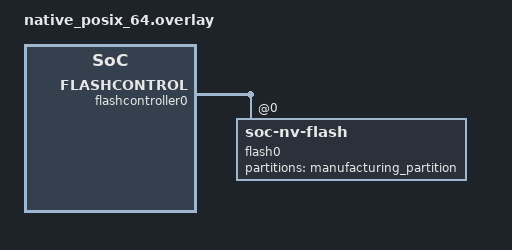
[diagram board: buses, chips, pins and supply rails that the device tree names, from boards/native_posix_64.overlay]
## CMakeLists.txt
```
cmake_minimum_required(VERSION 3.20.0)
set(PROJECT_DIR "${CMAKE_CURRENT_LIST_DIR}/../../../")

# native sim overlay
include("${CMAKE_CURRENT_LIST_DIR}/../boards/native_sim_64/native_sim_64.cmake")

find_package(Zephyr REQUIRED HINTS "${PROJECT_DIR}/firmware/modules/zephyr")
project(test_io)

target_sources(app PRIVATE
    "../boards/native_sim_64/pinctrl/pinctrl_sim.c"
    "src/io_transport.c"
    "src/main.c"
    "src/test_general.c"
    "src/test_gpio.c"
    "src/test_pinctrl.c"
    "${PROJECT_DIR}/firmware/src/io/io.c"
    "${PROJECT_DIR}/firmware/src/io/commands_general.c"
    "${PROJECT_DIR}/firmware/src/io/commands_gpio.c"
    "${PROJECT_DIR}/firmware/src/io/commands_pinctrl.c"
    "${PROJECT_DIR}/firmware/src/nvs.c"
    "${PROJECT_DIR}/firmware/src/utf8.c"
)

target_include_directories(app PRIVATE
    "${PROJECT_DIR}/firmware/src"
    "${PROJECT_DIR}/firmware/tests"
)

target_compile_options(app PRIVATE -Wall -Werror -fanalyzer -save-temps=obj)

zephyr_linker_sources(DATA_SECTIONS
    "${PROJECT_DIR}/firmware/src/io/transport.ld"
)
```

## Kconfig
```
config REPO_VERSION_STRING
    string "Repository semver-compatible version string"
    default "v987.654.321-99-ba5eba11-dirty"

config PRODUCT_MANUFACTURER
    string "Name of the product manufacturer"
    default "Nick Kraus"

config PRODUCT_DESCRIPTOR
    string "Short descriptor of the product"
    default "RICEProbe IO CMSIS-DAP"

config PRODUCT_SERIAL_FORMAT
    string "Defines the format and length of the product serial number"
    default "MMMM-YYWWNNNNNNC"

module = IO
module-str = io
source "subsys/logging/Kconfig.template.log_config"

source "Kconfig.zephyr"
```

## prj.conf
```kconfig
# Device Driver Configs

CONFIG_GPIO=y

CONFIG_FLASH=y
CONFIG_FLASH_MAP=y

CONFIG_PINCTRL=y
CONFIG_PINCTRL_DYNAMIC=y

CONFIG_SERIAL=y
CONFIG_UART_INTERRUPT_DRIVEN=y

# Kernel Configs

CONFIG_HEAP_MEM_POOL_SIZE=4096
CONFIG_RING_BUFFER=y

CONFIG_SYS_CLOCK_TICKS_PER_SEC=1000000

# Logging Configs

CONFIG_LOG=y
CONFIG_LOG_BACKEND_NATIVE_POSIX=y

# Test Configs

CONFIG_ZTEST=y
CONFIG_ZTEST_NEW_API=y

CONFIG_COVERAGE=y
```

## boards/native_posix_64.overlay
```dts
#include <dt-bindings/pinctrl/pinctrl_posix.h>

/ {    
    io: io {
        compatible = "rice,io";
    };
};

&flashcontroller0 {
    /delete-node/ flash@0;

    flash0: flash@0 {
        status = "okay";
        compatible = "soc-nv-flash";
        erase-block-size = <1>;
        write-block-size = <1>;
        reg = <0x0 0x200>;

        partitions {
            compatible = "fixed-partitions";
            #address-cells = <1>;
            #size-cells = <1>;

            manufacturing_partition: partition@0 {
                reg = <0x0 0x200>;
                read-only;
            };
        };
    };
};
```

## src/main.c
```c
#include <zephyr/storage/flash_map.h>
#include <zephyr/kernel.h>
#include <zephyr/ztest.h>

static uint8_t nvs_data[] = {
    /* manufacturing tag (0x7A5A, little-endian) */
    0x5A, 0x7A,
    /* manufacturing data version (0x0101, little-endian) */
    0x01, 0x01,
    /* serial number */
    'R', 'P', 'B', '1', '-', '2', '0', '0',
    '0', '1', '2', '3', '4', '5', '6', 'I',
    0, 0, 0, 0, 0, 0, 0, 0,
    0, 0, 0, 0, 0, 0, 0, 0, 
    /* uuid */
    0x20, 0xA0, 0x2F, 0xC2, 0xA7, 0x91, 0x41, 0x4B,
    0xBB, 0x66, 0xC6, 0x40, 0x7E, 0x78, 0xA7, 0x10,
};

int32_t nvs_init(void);
int32_t io_init(void);

static void *io_tests_setup(void) {
    const struct flash_area *fa;
    zassert_ok(flash_area_open(FIXED_PARTITION_ID(manufacturing_partition), &fa));
    zassert_ok(flash_area_erase(fa, 0, sizeof(nvs_data)));
    zassert_ok(flash_area_write(fa, 0, nvs_data, sizeof(nvs_data)));
    flash_area_close(fa);

    zassert_ok(nvs_init());
    zassert_ok(io_init());

    /* make sure the test transport has been selected by the time the test runs */
    k_sleep(K_MSEC(100));

    return NULL;
}

ZTEST_SUITE(io, NULL, io_tests_setup, NULL, NULL, NULL);
```

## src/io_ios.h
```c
#ifndef __TEST_IO_IOS_H__
#define __TEST_IO_IOS_H__

#include <zephyr/devicetree.h>
#include <zephyr/drivers/gpio.h>

#include "io/io.h"

static const struct gpio_dt_spec io_gpios[] = IO_GPIOS_DECLARE();

#endif /* __TEST_IO_IOS_H__ */
```

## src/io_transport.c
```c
#include <zephyr/kernel.h>
#include <zephyr/ztest.h>

#include "io/transport.h"

static int32_t io_transport_init(void) {
    return 0;
}

static int32_t io_transport_configure(void) {
    return 0;
}

static uint8_t buf[KB(3)];
static size_t buf_len;

/* a test request is available and the transport_recv function can continue */
static K_SEM_DEFINE(request_available, 0, 1);
static int32_t io_transport_recv(uint8_t *recv, size_t len) {
    k_sem_take(&request_available, K_FOREVER);

    zassert(len > buf_len, "requested command length greater than available space");
    memcpy(recv, buf, buf_len);

    return buf_len;
}

static K_SEM_DEFINE(response_available, 0, 1);
static int32_t io_transport_send(uint8_t *send, size_t len) {
    /* we should be all set with the request data in the buffer at this point */
    buf_len = len;
    memcpy(buf, send, len);

    k_sem_give(&response_available);

    return len;
}

IO_TRANSPORT_DEFINE(
    io_transport,
    io_transport_init,
    io_transport_configure,
    io_transport_recv,
    io_transport_send
);

void io_transport_command(uint8_t *request, size_t request_len, uint8_t **response, size_t *response_len) {
    buf_len = request_len;
    memcpy(buf, request, request_len);
    k_sem_give(&request_available);

    /* queued commands will never call the send function, since no response has been created, but we
     * want to make sure it isn't called, so wait for a reasonable timeout and then return no data. */
    if (k_sem_take(&response_available, K_SECONDS(1)) == -EAGAIN) {
        *response_len = 0;
    } else {
        *response_len = buf_len;
    }
    *response = buf;
}
```

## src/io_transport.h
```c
#ifndef __TEST_IO_TRANSPORT_H__
#define __TEST_IO_TRANSPORT_H__

#include <zephyr/ztest.h>

#include "util/print.h"

void io_transport_command(uint8_t *request, size_t request_len, uint8_t **response, size_t *response_len);

/* always expects '_request' and '_expect' in string forms, so make sure to skip
 * the null terminator when calculating size. */
#define assert_io_command_expect(_request, _expect)                                     \
    do {                                                                                \
        uint8_t req[] = _request;                                                       \
        uint8_t *resp;                                                                  \
        size_t resp_len;                                                                \
        io_transport_command(req, sizeof(req) - 1, &resp, &resp_len);                   \
        uint8_t exp[] = _expect;                                                        \
        if (memcmp(resp, exp, MIN(sizeof(exp) - 1, resp_len)) != 0) {                   \
            hex_diff_printk(resp, exp, MIN(sizeof(exp) - 1, resp_len));                 \
            zassert(false, "\e[0;31mresponse does not match expected value\e[0m\n");    \
        }                                                                               \
    } while (0)

#endif /* __TEST_IO_TRANSPORT_H__ */
```

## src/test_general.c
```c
#include <zephyr/ztest.h>

#include "io_transport.h"

ZTEST(io, test_info_command) {
    /* transport packet size */
    assert_io_command_expect("\x01\x01", "\x01\x00\x02\x00\x02");
    /* transport buffer size */
    assert_io_command_expect("\x01\x02", "\x01\x00\x02\x00\x08");
    /* product vendor name */
    assert_io_command_expect("\x01\x03", "\x01\x00\x0b" "Nick Kraus\0");
    /* product description */
    assert_io_command_expect("\x01\x04", "\x01\x00\x17" "RICEProbe IO CMSIS-DAP\0");
    /* serial number */
    assert_io_command_expect("\x01\x05", "\x01\x00\x11" "RPB1-2000123456I\0");
    /* uuid */
    assert_io_command_expect("\x01\x06", "\x01\x00\x25" "20a02fc2-a791-414b-bb66-c6407e78a710\0");
    /* firmware version */
    assert_io_command_expect("\x01\x07", "\x01\x00\x1f" "v987.654.321-99-ba5eba11-dirty\0");
    /* protocol version */
    assert_io_command_expect("\x01\x08", "\x01\x00\x06" "0.1.0\0");
    /* supported subsystems */
    assert_io_command_expect("\x01\x09", "\x01\x00\x01\x00");
    /* number of available pins */
    assert_io_command_expect("\x01\x0a", "\x01\x00\x02\x0a\x00");

    /* don't currently support anything */
    assert_io_command_expect("\x01\x09", "\x01\x00\x01\x00");

    /* unsupported id returns enotsup status */
    assert_io_command_expect("\x01\x00", "\x01\xff");
    /* incomplete command requests */
    assert_io_command_expect("\x01", "\xff");
}

ZTEST(io, test_multi_queue_delay_command) {
    /* two copies of packet size */
    assert_io_command_expect(
        "\x02\x02" "\x01\x01" "\x01\x01",
        "\x02\x02" "\x01\x00\x02\x00\x02" "\x01\x00\x02\x00\x02"
    );

    /* same as above, but with a delay, ensure it is taken */
    uint32_t start = k_uptime_get_32();
    assert_io_command_expect(
        "\x02\x03" "\x01\x01" "\x04\x10\x27\x00\x00" "\x01\x01",
        "\x02\x03" "\x01\x00\x02\x00\x02" "\x04\x00" "\x01\x00\x02\x00\x02"
    );
    uint32_t elapsed = k_uptime_get_32() - start;
    zassert_between_inclusive(elapsed, 9, 11);

    /* queued commands will have no response until the next non-queued command */
    assert_io_command_expect("\x03\x02" "\x01\x01" "\x04\x01\x00\x00\x00", "");
    assert_io_command_expect("\x03\x01" "\x01\x02", "");
    /* now all three responses should come */
    assert_io_command_expect(
        "\x01\x09",
        "\x02\x02" "\x01\x00\x02\x00\x02" "\x04\x00" "\x02\x01" "\x01\x00\x02\x00\x08" "\x01\x00\x01\x00"
    );

    /* incomplete command requests */
    assert_io_command_expect("\x03", "\xff");
    assert_io_command_expect("\x02", "\xff");
}

ZTEST(io, test_unsupported_command) {
    assert_io_command_expect("\xf4\x8f\xa0\x80", "\xff");
}
```

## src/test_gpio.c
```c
#include <zephyr/drivers/gpio.h>
#include <zephyr/ztest.h>

#include "io/io.h"
#include "io_ios.h"
#include "io_transport.h"
#include "util/gpio.h"

ZTEST(io, test_gpio_caps_cfg) {
    /* default pinctrl state */
    assert_io_command_expect("\x0a", "\x0a\x00");

    /* supported capabilities and flags, for posix boards open drain not supported */
    assert_io_command_expect("\x10",  "\x10\x00\x01\x03\x01\x0f");

    /* config command only supports a single flag byte */
    assert_io_command_expect("\x11\x00\x02\x00\x00",  "\x11\xff");
    /* unsupported GPIO produces an error */
    assert_io_command_expect("\x11\xff\x01\x00",  "\x11\xff");

    /* input only */
    assert_io_command_expect("\x11\x00\x01\x00",  "\x11\x00");
    assert_gpio_emul_has_flag(&io_gpios[0], GPIO_INPUT);
    assert_gpio_emul_not_flag(&io_gpios[0], GPIO_OUTPUT);
    /* output, but also input */
    assert_io_command_expect("\x11\x00\x01\x01",  "\x11\x00");
    assert_gpio_emul_has_flag(&io_gpios[0], GPIO_INPUT);
    assert_gpio_emul_has_flag(&io_gpios[0], GPIO_OUTPUT);

    /* pull up */
    assert_io_command_expect("\x11\x00\x01\x04",  "\x11\x00");
    assert_gpio_emul_has_flag(&io_gpios[0], GPIO_PULL_UP);
    /* pull down */
    assert_io_command_expect("\x11\x00\x01\x08",  "\x11\x00");
    assert_gpio_emul_has_flag(&io_gpios[0], GPIO_PULL_DOWN);
    /* pull up and down together isn't supported */
    assert_io_command_expect("\x11\x00\x01\x0c",  "\x11\xff");
    /* open drain and non-output also not supported */
    assert_io_command_expect("\x11\x00\x01\x10",  "\x11\xff");

    /* open drain not available on posix boards, will result in an error */
    assert_io_command_expect("\x11\x00\x01\x11",  "\x11\xfe");

    /* incomplete command requests */
    assert_io_command_expect("\x11",  "\xff");
    assert_io_command_expect("\x11\x00",  "\xff");
    assert_io_command_expect("\x11\x00\x01",  "\xff");
}

/* sets gpio0 to '1' if it is an input */
void gpio0_set_timer_handler(struct k_timer *timer) {
    assert_gpio_emul_not_flag(&io_gpios[0], GPIO_OUTPUT);
    assert_gpio_emul_input_set(&io_gpios[0], 1);
    k_timer_stop(timer);
}
K_TIMER_DEFINE(gpio0_set_timer, gpio0_set_timer_handler, NULL);

ZTEST(io, test_gpio_ctrl) {
    /* default pinctrl state */
    assert_io_command_expect("\x0a", "\x0a\x00");

    /* gpio0 output, active low */
    assert_io_command_expect("\x11\x00\x01\x03",  "\x11\x00");
    assert_io_command_expect("\x12\x00\x03", "\x12\x00");
    assert_gpio_emul_output_val(&io_gpios[0], 0);
    assert_io_command_expect("\x12\x00\x02", "\x12\x00");
    assert_gpio_emul_output_val(&io_gpios[0], 1);

    /* gpio0 output, active high */
    assert_io_command_expect("\x11\x00\x01\x01",  "\x11\x00");
    assert_io_command_expect("\x12\x00\x03", "\x12\x00");
    assert_gpio_emul_output_val(&io_gpios[0], 1);
    assert_io_command_expect("\x12\x00\x02", "\x12\x00");
    assert_gpio_emul_output_val(&io_gpios[0], 0);

    /* gpio toggle */
    assert_io_command_expect("\x12\x00\x04", "\x12\x00");
    assert_gpio_emul_output_val(&io_gpios[0], 1);
    assert_io_command_expect("\x12\x00\x04", "\x12\x00");
    assert_gpio_emul_output_val(&io_gpios[0], 0);

    /* gpio0 input, active low */
    assert_io_command_expect("\x11\x00\x01\x02",  "\x11\x00");
    assert_gpio_emul_input_set(&io_gpios[0], 1);
    assert_io_command_expect("\x12\x00\x08", "\x12\x00\x00");
    assert_gpio_emul_input_set(&io_gpios[0], 0);
    assert_io_command_expect("\x12\x00\x08", "\x12\x00\x01");

    /* gpio0 input, active high */
    assert_io_command_expect("\x11\x00\x01\x00",  "\x11\x00");
    assert_gpio_emul_input_set(&io_gpios[0], 1);
    assert_io_command_expect("\x12\x00\x08", "\x12\x00\x01");
    assert_gpio_emul_input_set(&io_gpios[0], 0);
    assert_io_command_expect("\x12\x00\x08", "\x12\x00\x00");

    /* waiting for an already set input should be instant */
    uint32_t start = k_uptime_get_32();
    assert_gpio_emul_input_set(&io_gpios[0], 1);
    assert_io_command_expect("\x12\x00\x10\xff\x00\x00\x00", "\x12\x00");
    zassert_equal((k_uptime_get_32() - start), 0);
    /* waiting should eventually timeout */
    start = k_uptime_get_32();
    assert_io_command_expect("\x12\x00\x10\xfe\x00\x00\x00", "\x12\xfd");
    zassert_equal((k_uptime_get_32() - start), 127);
    /* should take the specified amount of time in the timer to return */
    assert_gpio_emul_input_set(&io_gpios[0], 0);
    start = k_uptime_get_32();
    k_timer_start(&gpio0_set_timer, K_MSEC(750), K_MSEC(750));
    assert_io_command_expect("\x12\x00\x10\xff\xff\xff\xff", "\x12\x00");
    zassert_between_inclusive((k_uptime_get_32() - start), 749, 751);

    /* writing happens before toggling */
    assert_io_command_expect("\x11\x00\x01\x01",  "\x11\x00");
    assert_io_command_expect("\x12\x00\x07", "\x12\x00");
    assert_gpio_emul_output_val(&io_gpios[0], 0);

    /* toggling happens before reading */
    assert_gpio_emul_output_val(&io_gpios[0], 0);
    assert_io_command_expect("\x12\x00\x0c", "\x12\x00\x01");
    assert_gpio_emul_output_val(&io_gpios[0], 1);

    /* reading happens before waiting */
    assert_io_command_expect("\x11\x00\x01\x00",  "\x11\x00");
    assert_gpio_emul_input_set(&io_gpios[0], 0);
    k_timer_start(&gpio0_set_timer, K_MSEC(750), K_MSEC(750));
    assert_io_command_expect("\x12\x00\x18\xff\xff\xff\xff", "\x12\x00\x00");

    /* incomplete command requests */
    assert_io_command_expect("\x12",  "\xff");
    assert_io_command_expect("\x12\x00",  "\xff");
    assert_io_command_expect("\x12\x00\x10",  "\xff");
}
```

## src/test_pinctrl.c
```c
#include <zephyr/drivers/pinctrl.h>
#include <zephyr/ztest.h>

#include "io/io.h"
#include "io_ios.h"
#include "io_transport.h"
#include "util/gpio.h"

ZTEST(io, test_pins_capabilities_command) {
    /* io0, gpio0, uart0 */
    assert_io_command_expect("\x09\x00", "\x09\x00\x01\x03\x02\x00\x00\x01\x00");
    /* io1, gpio1, uart0, i2c0 */
    assert_io_command_expect("\x09\x01", "\x09\x00\x01\x03\x03\x00\x01\x01\x00\x02\x00");
    /* io2, gpio2, i2c0 */
    assert_io_command_expect("\x09\x02", "\x09\x00\x01\x03\x02\x00\x02\x02\x00");

    /* unsupported io */
    assert_io_command_expect("\x09\xff", "\x09\xff");

    /* incomplete command requests */
    assert_io_command_expect("\x09", "\xff");
}

ZTEST(io, test_pins_cfg_default_commands) {
    /* io0, gpio0 */
    assert_io_command_expect("\x0b\x00\x00\x00\x01\x00", "\x0b\x00");
    assert_pinctrl_sim_func(8, SIM_PINMUX_FUNC_GPIO);
    assert_gpio_emul_has_flag(&io_gpios[0], GPIO_INPUT);
    assert_gpio_emul_not_flag(&io_gpios[0], GPIO_OUTPUT);
    /* io0, uart0 */
    assert_io_command_expect("\x0b\x00\x01\x00\x01\x00", "\x0b\x00");
    assert_pinctrl_sim_func(8, SIM_PINMUX_FUNC_UART);
    
    /* io1, gpio1 */
    assert_io_command_expect("\x0b\x01\x00\x01\x01\x00", "\x0b\x00");
    assert_pinctrl_sim_func(9, SIM_PINMUX_FUNC_GPIO);
    assert_gpio_emul_has_flag(&io_gpios[1], GPIO_INPUT);
    assert_gpio_emul_not_flag(&io_gpios[1], GPIO_OUTPUT);
    /* io1, uart0 */
    assert_io_command_expect("\x0b\x01\x01\x00\x01\x00", "\x0b\x00");
    assert_pinctrl_sim_func(9, SIM_PINMUX_FUNC_UART);
    /* io1, i2c0 */
    assert_io_command_expect("\x0b\x01\x02\x00\x01\x00", "\x0b\x00");
    assert_pinctrl_sim_func(9, SIM_PINMUX_FUNC_I2C);
    
    /* io2, gpio2 */
    assert_io_command_expect("\x0b\x02\x00\x02\x01\x00", "\x0b\x00");
    assert_pinctrl_sim_func(10, SIM_PINMUX_FUNC_GPIO);
    assert_gpio_emul_has_flag(&io_gpios[2], GPIO_INPUT);
    assert_gpio_emul_not_flag(&io_gpios[2], GPIO_OUTPUT);
    /* io2, i2c0 */
    assert_io_command_expect("\x0b\x02\x02\x00\x01\x00", "\x0b\x00");
    assert_pinctrl_sim_func(10, SIM_PINMUX_FUNC_I2C);

    /* unsupported pin */
    assert_io_command_expect("\x0b\xff\x00\xff\x01\x00", "\x0b\xff");
    /* unsupported function */
    assert_io_command_expect("\x0b\x00\xff\x00\x01\x00", "\x0b\xff");
    /* unsupported index */
    assert_io_command_expect("\x0b\x00\x00\x01\x01\x00", "\x0b\xff");

    /* default state is gpio input */
    assert_io_command_expect("\x0a", "\x0a\x00");
    assert_pinctrl_sim_func(8, SIM_PINMUX_FUNC_GPIO);
    assert_gpio_emul_has_flag(&io_gpios[0], GPIO_INPUT);
    assert_gpio_emul_not_flag(&io_gpios[0], GPIO_OUTPUT);
    assert_pinctrl_sim_func(9, SIM_PINMUX_FUNC_GPIO);
    assert_gpio_emul_has_flag(&io_gpios[1], GPIO_INPUT);
    assert_gpio_emul_not_flag(&io_gpios[1], GPIO_OUTPUT);
    assert_pinctrl_sim_func(10, SIM_PINMUX_FUNC_GPIO);
    assert_gpio_emul_has_flag(&io_gpios[2], GPIO_INPUT);
    assert_gpio_emul_not_flag(&io_gpios[2], GPIO_OUTPUT);

    /* only support one flag byte */
    assert_io_command_expect("\x0b\x00\x00\x00\x02\x00\x00", "\x0b\xff");

    /* test various pinctrl flags */
    assert_io_command_expect("\x0b\x00\x00\x00\x01\x01", "\x0b\x00");
    assert_pinctrl_sim_func(8, SIM_PINMUX_FUNC_GPIO);
    assert_pinctrl_sim_has_flags(8, SIM_PINFLAG_PULLUP);
    assert_gpio_emul_has_flag(&io_gpios[0], (GPIO_INPUT | GPIO_PULL_UP));
    assert_io_command_expect("\x0b\x00\x00\x00\x01\x02", "\x0b\x00");
    assert_pinctrl_sim_func(8, SIM_PINMUX_FUNC_GPIO);
    assert_pinctrl_sim_has_flags(8, SIM_PINFLAG_PULLDOWN);
    assert_gpio_emul_has_flag(&io_gpios[0], (GPIO_INPUT | GPIO_PULL_DOWN));
    /* posix boards don't support open drain IO, not tested here */

    /* incomplete command requests */
    assert_io_command_expect("\x0b", "\xff");
    assert_io_command_expect("\x0b\x10", "\xff");
    assert_io_command_expect("\x0b\x10\x00", "\xff");
    assert_io_command_expect("\x0b\x10\x00\x00", "\xff");
    assert_io_command_expect("\x0b\x10\x00\x00\x01", "\xff");
}
```
